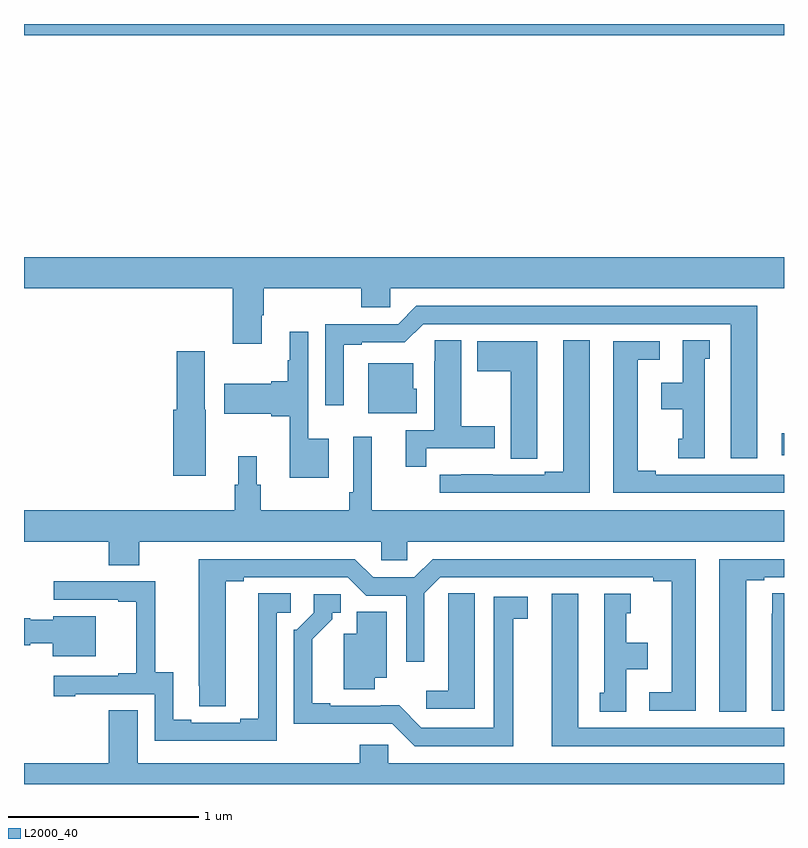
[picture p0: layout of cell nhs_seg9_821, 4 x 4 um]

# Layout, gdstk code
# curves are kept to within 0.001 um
import gdstk
lib = gdstk.Library(unit=1e-6, precision=1e-09)
def R(c, l, rs):  # rectangles x0, y0, x1, y1
    for r in rs: c.add(gdstk.rectangle(r[:2], r[2:], *l))
def P(c, l, *ps):  # polygons
    for p in ps: c.add(gdstk.Polygon(p, *l))
L2000_40 = (2000, 40)

nhs_seg9_821 = lib.new_cell('nhs_seg9_821')
R(nhs_seg9_821, L2000_40, [(158.988,1174.23,159,1174.346), (155,1176.44,159,1176.5)])
P(nhs_seg9_821, L2000_40, [(156.25,1174.966),(156.263,1174.966),(156.263,1175.108),(156.776,1175.108),(156.776,1175.01),(156.927,1175.01),(156.927,1175.108),(159,1175.108),(159,1175.272),(155,1175.272),(155,1175.108),(156.098,1175.108),(156.098,1174.818),(156.25,1174.818)],
  [(158.86,1175.016),(157.065,1175.016),(156.969,1174.92),(156.585,1174.92),(156.585,1174.494),(156.682,1174.494),(156.682,1174.812),(156.778,1174.812),(156.778,1174.824),(157.005,1174.824),(157.101,1174.92),(158.72,1174.92),(158.72,1174.215),(158.86,1174.215)],
  [(156.604,1174.318),(156.495,1174.318),(156.495,1174.879),(156.398,1174.879),(156.398,1174.73),(156.387,1174.73),(156.387,1174.619),(156.302,1174.619),(156.302,1174.606),(156.054,1174.606),(156.054,1174.448),(156.302,1174.448),(156.302,1174.436),(156.398,1174.436),(156.398,1174.112),(156.604,1174.112)],
  [(157.978,1174.835),(157.838,1174.835),(157.838,1174.143),(157.742,1174.143),(157.742,1174.128),(157.466,1174.128),(157.466,1174.129),(157.3,1174.129),(157.3,1174.128),(157.188,1174.128),(157.188,1174.032),(157.978,1174.032)],
  [(157.118,1174.266),(157.477,1174.266),(157.477,1174.383),(157.3,1174.383),(157.3,1174.835),(157.161,1174.835),(157.161,1174.724),(157.16,1174.724),(157.16,1174.362),(157.01,1174.362),(157.01,1174.17),(157.118,1174.17)],
  [(158.584,1174.737),(158.608,1174.737),(158.608,1174.835),(158.468,1174.835),(158.468,1174.612),(158.354,1174.612),(158.354,1174.472),(158.468,1174.472),(158.468,1174.317),(158.444,1174.317),(158.444,1174.215),(158.584,1174.215)],
  [(157.701,1174.321),(157.702,1174.321),(157.702,1174.831),(157.385,1174.831),(157.385,1174.672),(157.562,1174.672),(157.562,1174.213),(157.701,1174.213)],
  [(159,1174.128),(158.326,1174.128),(158.326,1174.148),(158.23,1174.148),(158.23,1174.734),(158.347,1174.734),(158.347,1174.83),(158.102,1174.83),(158.102,1174.032),(159,1174.032)],
  [(155.956,1174.47),(155.95,1174.47),(155.95,1174.777),(155.804,1174.777),(155.804,1174.47),(155.786,1174.47),(155.786,1174.122),(155.956,1174.122)],
  [(157.066,1174.581),(157.048,1174.581),(157.048,1174.714),(156.812,1174.714),(156.812,1174.451),(157.066,1174.451)],
  [(155.607,1173.776),(156.879,1173.776),(156.879,1173.678),(157.017,1173.678),(157.017,1173.776),(159,1173.776),(159,1173.94),(156.83,1173.94),(156.83,1174.327),(156.732,1174.327),(156.732,1174.036),(156.712,1174.036),(156.712,1173.94),(156.245,1173.94),(156.245,1174.074),(156.226,1174.074),(156.226,1174.225),(156.128,1174.225),(156.128,1174.074),(156.109,1174.074),(156.109,1173.94),(155,1173.94),(155,1173.776),(155.447,1173.776),(155.447,1173.652),(155.607,1173.652)],
  [(158.8,1173.573),(158.896,1173.573),(158.896,1173.588),(159,1173.588),(159,1173.684),(158.66,1173.684),(158.66,1172.881),(158.8,1172.881)],
  [(158.536,1173.684),(157.151,1173.684),(157.055,1173.588),(156.837,1173.588),(156.741,1173.684),(155.921,1173.684),(155.922,1172.908),(156.061,1172.908),(156.061,1173.568),(156.157,1173.568),(156.157,1173.588),(156.705,1173.588),(156.801,1173.492),(157.011,1173.492),(157.011,1173.144),(157.107,1173.144),(157.107,1173.504),(157.191,1173.588),(158.312,1173.588),(158.312,1173.568),(158.408,1173.568),(158.408,1172.982),(158.292,1172.982),(158.292,1172.886),(158.536,1172.886)],
  [(156.33,1173.402),(156.403,1173.402),(156.403,1173.503),(156.233,1173.503),(156.233,1172.843),(156.137,1172.843),(156.137,1172.823),(155.881,1172.823),(155.881,1172.838),(155.785,1172.838),(155.785,1173.089),(155.691,1173.089),(155.691,1173.567),(155.157,1173.567),(155.157,1173.471),(155.495,1173.471),(155.495,1173.459),(155.591,1173.459),(155.591,1173.082),(155.495,1173.082),(155.495,1173.069),(155.157,1173.069),(155.157,1172.961),(155.269,1172.961),(155.269,1172.973),(155.688,1172.973),(155.688,1172.727),(156.33,1172.727)],
  [(159,1173.503),(158.937,1173.503),(158.937,1173.395),(158.936,1173.395),(158.936,1172.885),(159,1172.885)],
  [(157.372,1173.503),(157.233,1173.503),(157.233,1173.395),(157.232,1173.395),(157.232,1172.992),(157.116,1172.992),(157.116,1172.895),(157.372,1172.895)],
  [(158.17,1173.104),(158.284,1173.104),(158.284,1173.244),(158.17,1173.244),(158.17,1173.399),(158.194,1173.399),(158.194,1173.502),(158.054,1173.502),(158.054,1172.979),(158.03,1172.979),(158.03,1172.881),(158.17,1172.881)],
  [(159,1172.796),(157.918,1172.796),(157.918,1173.502),(157.778,1173.502),(157.778,1172.7),(159,1172.7)],
  [(157.576,1173.37),(157.651,1173.37),(157.651,1173.486),(157.472,1173.486),(157.472,1172.796),(157.092,1172.796),(156.974,1172.914),(156.613,1172.913),(156.613,1172.926),(156.517,1172.926),(156.517,1173.262),(156.622,1173.367),(156.622,1173.402),(156.667,1173.402),(156.667,1173.498),(156.525,1173.498),(156.525,1173.402),(156.435,1173.312),(156.42,1173.312),(156.42,1172.816),(156.939,1172.817),(157.056,1172.7),(157.576,1172.7)],
  [(156.847,1173.059),(156.91,1173.059),(156.91,1173.407),(156.752,1173.407),(156.752,1173.292),(156.683,1173.292),(156.683,1172.998),(156.847,1172.998)],
  [(155.377,1173.382),(155.154,1173.382),(155.154,1173.364),(155.034,1173.364),(155.034,1173.372),(155,1173.372),(155,1173.23),(155.034,1173.23),(155.034,1173.242),(155.15,1173.242),(155.15,1173.173),(155.377,1173.173)],
  [(159,1172.608),(156.918,1172.608),(156.918,1172.706),(156.767,1172.706),(156.767,1172.608),(155.599,1172.608),(155.599,1172.888),(155.447,1172.888),(155.447,1172.608),(155,1172.608),(155,1172.5),(159,1172.5)])

lib.write_gds('nhs_seg9_821.gds')
